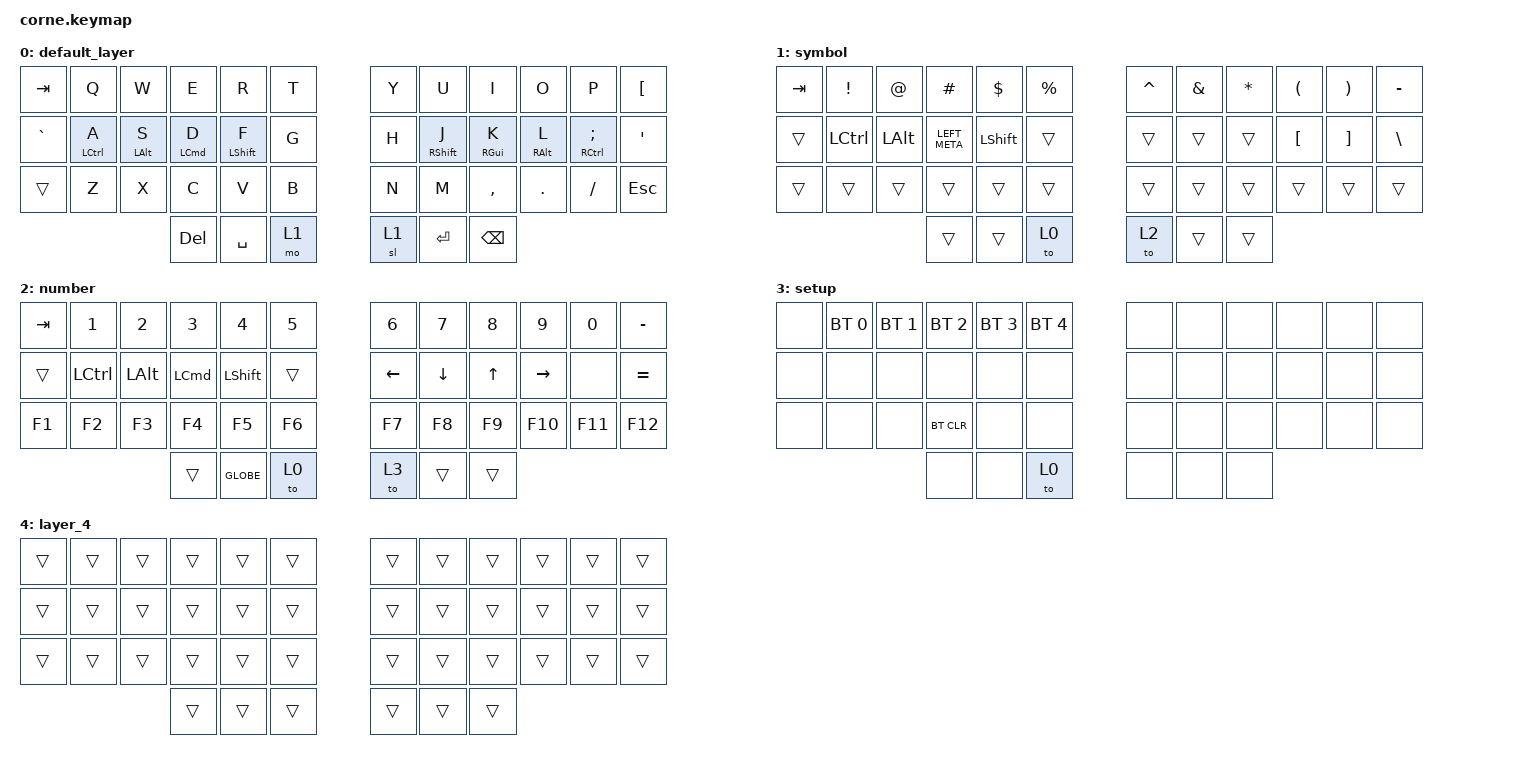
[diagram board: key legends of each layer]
/*
 * Copyright (c) 2020 The ZMK Contributors
 *
 * SPDX-License-Identifier: MIT
 */

#include <behaviors.dtsi>
#include <dt-bindings/zmk/bt.h>
#include <dt-bindings/zmk/keys.h>

/ {
    behaviors {
        homerow_mods: homerow_mods {
            compatible = "zmk,behavior-hold-tap";
            label = "HOMEROW_MODS";
            bindings = <&kp>, <&kp>;

            #binding-cells = <2>;
            tapping-term-ms = <400>;
            quick-tap-ms = <0>;
            flavor = "tap-preferred";
        };

        layercombo: layercombo {
            compatible = "zmk,behavior-hold-tap";
            label = "LAYERCOMBO";
            bindings = <&to>, <&sl>;

            #binding-cells = <2>;
            tapping-term-ms = <400>;
            quick-tap-ms = <0>;
            flavor = "tap-preferred";
        };
    };

    combos {
        compatible = "zmk,combos";

        equalscombo {
            bindings = <&kp EQUAL>;
            key-positions = <22 23>;
            layers = <0 1 2>;
        };

        minuscombo {
            bindings = <&kp MINUS>;
            key-positions = <10 11>;
            layers = <0 1 2>;
        };
    };

    keymap {
        compatible = "zmk,keymap";

        default_layer {
            // -----------------------------------------------------------------------------------------
            // |  TAB |  Q  |  W  |  E  |  R  |  T  |   |  Y  |  U   |  I  |  O  |  P  | BSPC |
            // | CTRL |  A  |  S  |  D  |  F  |  G  |   |  H  |  J   |  K  |  L  |  ;  |  '   |
            // | SHFT |  Z  |  X  |  C  |  V  |  B  |   |  N  |  M   |  ,  |  .  |  /  | ESC  |
            //                    | GUI | LWR | SPC |   | ENT | RSE  | ALT |

            bindings = <
&kp TAB    &kp Q                         &kp W                     &kp E                         &kp R                       &kp T    &kp Y  &kp U                        &kp I                      &kp O                      &kp P                             &kp LEFT_BRACKET
&kp GRAVE  &homerow_mods LEFT_CONTROL A  &homerow_mods LEFT_ALT S  &homerow_mods LEFT_COMMAND D  &homerow_mods LEFT_SHIFT F  &kp G    &kp H  &homerow_mods RIGHT_SHIFT J  &homerow_mods RIGHT_GUI K  &homerow_mods RIGHT_ALT L  &homerow_mods RIGHT_CONTROL SEMI  &kp SQT
&trans     &kp Z                         &kp X                     &kp C                         &kp V                       &kp B    &kp N  &kp M                        &kp COMMA                  &kp DOT                    &kp FSLH                          &kp ESC
                                                                   &kp DELETE                    &kp SPACE                   &mo 1    &sl 1  &kp ENTER                    &kp BACKSPACE
            >;
        };

        symbol {
            // -----------------------------------------------------------------------------------------
            // |  TAB |  !  |  @  |  #  |  $  |  %  |   |  ^  |  &  |  *  |  (  |  )  | BSPC |
            // | CTRL |     |     |     |     |     |   |  -  |  =  |  [  |  ]  |  \  |  `   |
            // | SHFT |     |     |     |     |     |   |  _  |  +  |  {  |  }  | "|" |  ~   |
            //                    | GUI |     | SPC |   | ENT |     | ALT |

            bindings = <
&kp TAB  &kp EXCL          &kp AT        &kp HASH       &kp DLLR        &kp PRCNT    &kp CARET  &kp AMPS  &kp ASTRK  &kp LPAR          &kp RPAR           &kp MINUS
&trans   &kp LEFT_CONTROL  &kp LEFT_ALT  &kp LEFT_META  &kp LEFT_SHIFT  &trans       &trans     &trans    &trans     &kp LEFT_BRACKET  &kp RIGHT_BRACKET  &kp BACKSLASH
&trans   &trans            &trans        &trans         &trans          &trans       &trans     &trans    &trans     &trans            &trans             &trans
                                         &trans         &trans          &to 0        &to 2      &trans    &trans
            >;
        };

        number {
            // -----------------------------------------------------------------------------------------
            // |  TAB |  1  |  2  |  3  |  4  |  5  |   |  6  |  7  |  8  |  9  |  0  | BSPC |
            // | BTCLR| BT1 | BT2 | BT3 | BT4 | BT5 |   | LFT | DWN |  UP | RGT |     |      |
            // | SHFT |     |     |     |     |     |   |     |     |     |     |     |      |
            //                    | GUI |     | SPC |   | ENT |     | ALT |

            bindings = <
&kp TAB  &kp N1            &kp N2        &kp N3            &kp N4          &kp N5    &kp N6    &kp N7    &kp N8  &kp N9     &kp N0   &kp MINUS
&trans   &kp LEFT_CONTROL  &kp LEFT_ALT  &kp LEFT_COMMAND  &kp LEFT_SHIFT  &trans    &kp LEFT  &kp DOWN  &kp UP  &kp RIGHT  &none    &kp EQUAL
&kp F1   &kp F2            &kp F3        &kp F4            &kp F5          &kp F6    &kp F7    &kp F8    &kp F9  &kp F10    &kp F11  &kp F12
                                         &trans            &kp GLOBE       &to 0     &to 3     &trans    &trans
            >;
        };

        setup {
            bindings = <
&none  &bt BT_SEL 0  &bt BT_SEL 1  &bt BT_SEL 2  &bt BT_SEL 3  &bt BT_SEL 4    &none  &none  &none  &none  &none  &none
&none  &none         &none         &none         &none         &none           &none  &none  &none  &none  &none  &none
&none  &none         &none         &bt BT_CLR    &none         &none           &none  &none  &none  &none  &none  &none
                                   &none         &none         &to 0           &none  &none  &none
            >;
        };

        layer_4 {
            bindings = <
&trans  &trans  &trans  &trans  &trans  &trans    &trans  &trans  &trans  &trans  &trans  &trans
&trans  &trans  &trans  &trans  &trans  &trans    &trans  &trans  &trans  &trans  &trans  &trans
&trans  &trans  &trans  &trans  &trans  &trans    &trans  &trans  &trans  &trans  &trans  &trans
                        &trans  &trans  &trans    &trans  &trans  &trans
            >;
        };
    };
};
